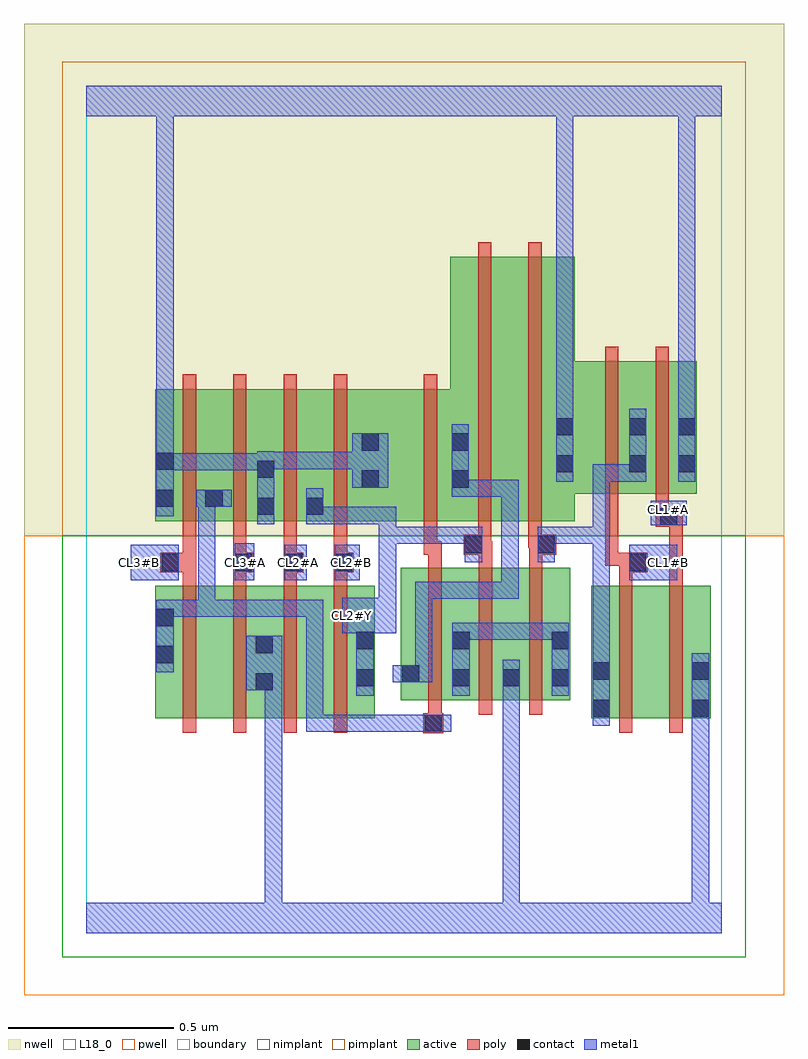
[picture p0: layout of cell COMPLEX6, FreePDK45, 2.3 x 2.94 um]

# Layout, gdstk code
import gdstk
lib = gdstk.Library(unit=1e-6, precision=1e-09)
def R(c, l, rs):  # rectangles x0, y0, x1, y1
    for r in rs: c.add(gdstk.rectangle(r[:2], r[2:], *l))
def A(c, l, x, y, w, h, nx, ny, dx, dy):  # array of equal rectangles
    R(c, l, [(x+i*dx, y+j*dy, x+i*dx+w, y+j*dy+h) for i in range(nx) for j in range(ny)])
active = (1, 0)
pwell = (2, 0)
nwell = (3, 0)
nimplant = (4, 0)
pimplant = (5, 0)
poly = (9, 0)
contact = (10, 0)
metal1 = (11, 0)
L18_0 = (18, 0)
boundary = (235, 0)

complex6 = lib.new_cell('COMPLEX6')
A(complex6, active, 0.95, 0.704, 0.06, 0.4, 3, 1, 0.152, 0)
R(complex6, active, [(0.208,0.65,0.388,1.05), (0.388,0.65,0.568,1.05), (0.508,0.65,0.692,1.05), (0.692,0.65,0.872,1.05), (1.526,0.65,1.586,1.05), (1.526,0.65,1.706,1.05), (1.706,0.65,1.886,1.05), (1.826,0.65,1.886,1.05), (0.95,0.704,1.162,1.104), (1.102,0.704,1.314,1.104), (1.254,0.704,1.462,1.104), (0.508,0.73,0.568,0.902), (0.812,0.742,0.872,1.05), (1.402,0.742,1.462,1.104), (0.208,0.756,0.268,1.05), (0.208,1.244,0.268,1.644), (0.208,1.244,0.416,1.644), (0.356,1.244,0.416,1.644), (0.356,1.244,0.572,1.644), (0.512,1.244,0.572,1.644), (0.512,1.244,0.72,1.644), (0.66,1.244,0.72,1.644), (0.66,1.244,0.888,1.644), (0.828,1.244,0.888,1.644), (0.828,1.244,1.16,1.644), (1.1,1.244,1.16,1.644), (1.1,1.244,1.28,2.044), (1.28,1.244,1.476,2.044), (1.416,1.328,1.476,1.644), (1.416,1.328,1.696,1.728), (1.636,1.328,1.844,1.728), (1.636,1.328,1.696,1.644), (1.784,1.328,1.844,1.644)])
R(complex6, pwell, [(-0.188,-0.188,2.108,1.2)])
R(complex6, nwell, [(-0.188,1.2,2.108,2.748)])
R(complex6, nimplant, [(-0.072,-0.072,1.992,1.2)])
R(complex6, pimplant, [(-0.072,1.2,1.992,2.632)])
A(complex6, poly, 0.292, 0.606, 0.04, 0.488, 4, 2, 0.152, 0.594)
A(complex6, poly, 1.034, 0.66, 0.04, 0.488, 3, 1, 0.152, 0)
A(complex6, poly, 0.292, 1.054, 0.04, 0.076, 4, 1, 0.152, 0)
A(complex6, poly, 0.444, 1.09, 0.06, 0.06, 3, 1, 0.152, 0)
A(complex6, poly, 1.034, 1.108, 0.04, 0.076, 3, 1, 0.152, 0)
A(complex6, poly, 0.292, 1.11, 0.04, 0.13, 4, 1, 0.152, 0)
R(complex6, poly, [(1.018,0.604,1.078,0.664), (1.61,0.606,1.65,1.094), (1.762,0.606,1.802,1.094), (1.034,0.624,1.074,0.7), (1.61,1.054,1.65,1.13), (1.762,1.054,1.802,1.268), (0.224,1.09,0.332,1.15), (0.292,1.09,0.332,1.13), (0.292,1.09,0.332,1.13), (0.748,1.09,0.788,1.13), (0.748,1.09,0.788,1.13), (1.61,1.09,1.696,1.15), (0.444,1.11,0.484,1.15), (0.444,1.11,0.484,1.15), (0.596,1.11,0.636,1.15), (0.596,1.11,0.636,1.15), (1.568,1.11,1.608,1.324), (1.568,1.11,1.65,1.15), (1.61,1.11,1.65,1.15), (1.02,1.144,1.06,1.184), (1.02,1.144,1.06,1.184), (1.02,1.144,1.06,1.24), (1.02,1.144,1.074,1.184), (1.14,1.144,1.224,1.204), (1.184,1.144,1.224,1.184), (1.184,1.144,1.226,1.184), (1.338,1.144,1.42,1.204), (1.184,1.164,1.224,1.24), (1.336,1.164,1.376,1.24), (1.336,1.164,1.378,1.204), (1.338,1.164,1.378,1.204), (1.02,1.2,1.06,1.688), (1.184,1.2,1.224,2.088), (1.336,1.2,1.376,2.088), (1.72,1.228,1.802,1.288), (1.762,1.228,1.802,1.268), (1.762,1.228,1.802,1.268), (1.72,1.248,1.76,1.324), (1.568,1.284,1.608,1.772), (1.72,1.284,1.76,1.772)])
A(complex6, contact, 0.448, 1.094, 0.052, 0.052, 3, 1, 0.152, 0)
R(complex6, contact, [(1.022,0.608,1.074,0.66), (1.53,0.654,1.582,0.706), (1.83,0.654,1.882,0.706), (0.512,0.734,0.564,0.786), (0.816,0.746,0.868,0.798), (1.106,0.746,1.158,0.798), (1.258,0.746,1.31,0.798), (1.406,0.746,1.458,0.798), (0.954,0.758,1.006,0.81), (1.53,0.766,1.582,0.818), (1.83,0.766,1.882,0.818), (0.212,0.816,0.264,0.868), (0.512,0.846,0.564,0.898), (0.816,0.858,0.868,0.91), (1.106,0.858,1.158,0.91), (1.406,0.858,1.458,0.91), (0.212,0.928,0.264,0.98), (0.228,1.094,0.28,1.146), (1.64,1.094,1.692,1.146), (1.144,1.148,1.196,1.2), (1.364,1.148,1.416,1.2), (1.734,1.232,1.786,1.284), (0.516,1.264,0.568,1.316), (0.664,1.264,0.716,1.316), (0.212,1.288,0.264,1.34), (0.36,1.288,0.412,1.34), (0.832,1.346,0.884,1.398), (1.104,1.346,1.156,1.398), (0.516,1.376,0.568,1.428), (1.42,1.392,1.472,1.444), (1.64,1.392,1.692,1.444), (1.788,1.392,1.84,1.444), (0.212,1.4,0.264,1.452), (0.832,1.458,0.884,1.51), (1.104,1.458,1.156,1.51), (1.42,1.504,1.472,1.556), (1.64,1.504,1.692,1.556), (1.788,1.504,1.84,1.556)])
R(complex6, metal1, [(0,0,1.92,0.092), (0.54,0.04,0.592,0.786), (1.258,0.04,1.31,0.092), (1.258,0.04,1.31,0.092), (1.258,0.04,1.31,0.092), (1.258,0.04,1.31,0.092), (1.258,0.04,1.31,0.092), (1.258,0.04,1.31,0.092), (1.258,0.04,1.31,0.092), (1.258,0.04,1.31,0.092), (1.258,0.04,1.31,0.092), (1.258,0.04,1.31,0.092), (1.258,0.04,1.31,0.092), (1.258,0.04,1.31,0.092), (1.258,0.04,1.31,0.77), (1.83,0.04,1.882,0.092), (1.83,0.04,1.882,0.092), (1.83,0.04,1.882,0.092), (1.83,0.04,1.882,0.092), (1.83,0.04,1.882,0.092), (1.83,0.04,1.882,0.092), (1.83,0.04,1.882,0.092), (1.83,0.04,1.882,0.092), (1.83,0.04,1.882,0.092), (1.83,0.04,1.882,0.092), (1.83,0.04,1.882,0.092), (1.83,0.04,1.882,0.092), (1.83,0.04,1.882,0.678), (0.664,0.608,0.716,0.66), (0.664,0.608,0.716,0.66), (0.664,0.608,0.716,0.66), (0.664,0.608,0.936,0.66), (0.664,0.608,0.716,0.896), (0.884,0.608,0.936,0.66), (0.884,0.608,0.936,0.66), (0.884,0.608,0.936,0.66), (0.884,0.608,0.936,0.66), (0.884,0.608,0.936,0.66), (0.884,0.608,1.046,0.66), (0.994,0.608,1.102,0.66), (1.53,0.626,1.582,0.846), (1.83,0.626,1.882,0.846), (0.816,0.718,0.868,0.938), (1.106,0.718,1.158,0.938), (1.258,0.718,1.31,0.826), (1.406,0.718,1.458,0.938), (0.484,0.734,0.592,0.898), (0.54,0.734,0.592,0.786), (0.54,0.734,0.592,0.786), (0.54,0.734,0.592,0.786), (0.54,0.734,0.592,0.786), (0.54,0.734,0.592,0.786), (0.54,0.734,0.592,0.786), (0.54,0.734,0.592,0.786), (0.54,0.734,0.592,0.786), (0.54,0.734,0.592,0.786), (0.54,0.734,0.592,0.786), (0.54,0.734,0.592,0.786), (0.54,0.734,0.592,0.786), (0.926,0.758,1.046,0.81), (0.994,0.758,1.046,1.062), (0.212,0.788,0.264,1.008), (1.53,0.794,1.582,1.228), (0.664,0.844,0.716,0.896), (0.664,0.844,0.716,1.008), (0.816,0.886,0.868,0.958), (1.106,0.886,1.158,0.938), (1.106,0.886,1.158,0.938), (1.106,0.886,1.306,0.938), (1.254,0.886,1.306,0.938), (1.254,0.886,1.306,0.938), (1.254,0.886,1.306,0.938), (1.254,0.886,1.458,0.938), (0.774,0.906,0.936,1.014), (0.212,0.956,0.264,1.008), (0.212,0.956,0.264,1.008), (0.212,0.956,0.39,1.008), (0.338,0.956,0.39,1.008), (0.338,0.956,0.39,1.008), (0.338,0.956,0.39,1.008), (0.338,0.956,0.39,1.008), (0.338,0.956,0.39,1.008), (0.338,0.956,0.39,1.008), (0.338,0.956,0.39,1.008), (0.338,0.956,0.5,1.008), (0.338,0.956,0.39,1.34), (0.448,0.956,0.5,1.008), (0.448,0.956,0.5,1.008), (0.448,0.956,0.5,1.008), (0.448,0.956,0.716,1.008), (0.664,0.956,0.716,1.008), (0.664,0.956,0.716,1.008), (0.664,0.956,0.716,1.008), (0.884,0.962,0.936,1.228), (0.994,1.01,1.046,1.062), (0.994,1.01,1.046,1.062), (0.994,1.01,1.046,1.062), (0.994,1.01,1.156,1.062), (1.104,1.01,1.156,1.062), (1.104,1.01,1.156,1.062), (1.104,1.01,1.156,1.062), (1.104,1.01,1.306,1.062), (1.254,1.01,1.306,1.062), (1.254,1.01,1.306,1.37), (0.134,1.066,0.28,1.174), (0.448,1.066,0.508,1.178), (0.6,1.066,0.666,1.174), (0.752,1.066,0.826,1.174), (1.64,1.066,1.786,1.174), (1.144,1.12,1.196,1.228), (1.364,1.12,1.416,1.228), (0.884,1.176,0.936,1.228), (0.884,1.176,0.936,1.228), (0.884,1.176,0.936,1.228), (0.884,1.176,1.046,1.228), (0.884,1.176,0.936,1.288), (0.994,1.176,1.046,1.228), (0.994,1.176,1.196,1.228), (1.144,1.176,1.196,1.228), (1.144,1.176,1.196,1.228), (1.364,1.176,1.416,1.228), (1.364,1.176,1.416,1.228), (1.364,1.176,1.582,1.228), (1.53,1.176,1.582,1.228), (1.53,1.176,1.582,1.336), (1.706,1.232,1.814,1.306), (0.516,1.236,0.568,1.456), (0.664,1.236,0.716,1.288), (0.664,1.236,0.716,1.288), (0.664,1.236,0.716,1.344), (0.664,1.236,0.936,1.288), (0.884,1.236,0.936,1.288), (0.212,1.26,0.264,1.48), (1.53,1.284,1.582,1.336), (1.53,1.284,1.582,1.336), (1.53,1.284,1.582,1.336), (1.53,1.284,1.582,1.336), (1.53,1.284,1.582,1.416), (0.332,1.288,0.44,1.34), (1.104,1.318,1.156,1.37), (1.104,1.318,1.156,1.37), (1.104,1.318,1.156,1.538), (1.104,1.318,1.306,1.37), (1.254,1.318,1.306,1.37), (1.254,1.318,1.306,1.37), (1.254,1.318,1.306,1.37), (0.804,1.346,0.912,1.51), (1.42,1.364,1.472,1.584), (1.53,1.364,1.692,1.416), (1.64,1.364,1.692,1.584), (1.788,1.364,1.84,1.584), (0.212,1.398,0.264,1.45), (0.212,1.398,0.264,1.45), (0.212,1.398,0.39,1.45), (0.338,1.398,0.39,1.45), (0.338,1.398,0.39,1.45), (0.338,1.398,0.39,1.45), (0.338,1.398,0.568,1.45), (0.516,1.402,0.568,1.454), (0.516,1.402,0.568,1.454), (0.516,1.402,0.702,1.454), (0.65,1.402,0.702,1.454), (0.65,1.402,0.702,1.454), (0.65,1.402,0.702,1.454), (0.65,1.402,0.856,1.454), (0.212,1.428,0.264,1.48), (0.212,1.428,0.264,1.48), (0.212,1.428,0.264,1.48), (0.212,1.428,0.264,1.48), (0.212,1.428,0.264,1.48), (0.212,1.428,0.264,1.48), (0.212,1.428,0.264,1.48), (0.212,1.428,0.264,1.48), (0.212,1.428,0.264,1.48), (0.212,1.428,0.264,1.48), (0.212,1.428,0.264,1.48), (0.212,1.428,0.264,1.48), (0.212,1.428,0.264,1.48), (0.212,1.428,0.264,1.48), (0.212,1.428,0.264,2.52), (1.42,1.532,1.472,1.584), (1.42,1.532,1.472,1.584), (1.42,1.532,1.472,1.584), (1.42,1.532,1.472,1.584), (1.42,1.532,1.472,2.52), (1.788,1.532,1.84,1.584), (1.788,1.532,1.84,1.584), (1.788,1.532,1.84,1.584), (1.788,1.532,1.84,1.584), (1.788,1.532,1.84,1.584), (1.788,1.532,1.84,1.584), (1.788,1.532,1.84,1.584), (1.788,1.532,1.84,1.584), (1.788,1.532,1.84,2.52), (0,2.468,1.92,2.56), (0.212,2.468,0.264,2.52), (0.212,2.468,0.264,2.52), (1.42,2.468,1.472,2.52), (1.42,2.468,1.472,2.52), (1.42,2.468,1.472,2.52), (1.42,2.468,1.472,2.52), (1.788,2.468,1.84,2.52), (1.788,2.468,1.84,2.52), (1.788,2.468,1.84,2.52), (1.788,2.468,1.84,2.52), (1.788,2.468,1.84,2.52), (1.788,2.468,1.84,2.52), (1.788,2.468,1.84,2.52), (1.788,2.468,1.84,2.52)])
A(complex6, L18_0, 0.454, 1.094, 0.052, 0.052, 3, 1, 0.16, 0)
R(complex6, L18_0, [(0,0,1.92,0.092), (0.54,0.04,0.592,0.786), (1.258,0.04,1.31,0.092), (1.258,0.04,1.31,0.092), (1.258,0.04,1.31,0.092), (1.258,0.04,1.31,0.092), (1.258,0.04,1.31,0.092), (1.258,0.04,1.31,0.092), (1.258,0.04,1.31,0.092), (1.258,0.04,1.31,0.092), (1.258,0.04,1.31,0.092), (1.258,0.04,1.31,0.092), (1.258,0.04,1.31,0.092), (1.258,0.04,1.31,0.092), (1.258,0.04,1.31,0.77), (1.83,0.04,1.882,0.092), (1.83,0.04,1.882,0.092), (1.83,0.04,1.882,0.092), (1.83,0.04,1.882,0.092), (1.83,0.04,1.882,0.092), (1.83,0.04,1.882,0.092), (1.83,0.04,1.882,0.092), (1.83,0.04,1.882,0.092), (1.83,0.04,1.882,0.092), (1.83,0.04,1.882,0.092), (1.83,0.04,1.882,0.092), (1.83,0.04,1.882,0.092), (1.83,0.04,1.882,0.678), (1.83,0.626,1.882,0.846), (0.816,0.718,0.868,0.938), (1.258,0.718,1.31,0.826), (0.484,0.734,0.592,0.898), (0.54,0.734,0.592,0.786), (0.54,0.734,0.592,0.786), (0.54,0.734,0.592,0.786), (0.54,0.734,0.592,0.786), (0.54,0.734,0.592,0.786), (0.54,0.734,0.592,0.786), (0.54,0.734,0.592,0.786), (0.54,0.734,0.592,0.786), (0.54,0.734,0.592,0.786), (0.54,0.734,0.592,0.786), (0.54,0.734,0.592,0.786), (0.54,0.734,0.592,0.786), (0.816,0.886,0.868,0.958), (0.774,0.906,0.936,1.014), (0.774,0.934,0.826,0.986), (0.884,0.962,0.936,1.228), (0.134,1.066,0.28,1.174), (0.448,1.066,0.508,1.178), (0.6,1.066,0.666,1.174), (0.752,1.066,0.826,1.174), (1.64,1.066,1.786,1.174), (0.134,1.094,0.186,1.146), (1.734,1.094,1.786,1.146), (1.144,1.12,1.196,1.228), (0.884,1.176,0.936,1.228), (0.884,1.176,0.936,1.228), (0.884,1.176,0.936,1.228), (0.884,1.176,0.936,1.288), (0.884,1.176,1.046,1.228), (0.994,1.176,1.046,1.228), (0.994,1.176,1.196,1.228), (1.144,1.176,1.196,1.228), (1.144,1.176,1.196,1.228), (1.706,1.232,1.814,1.306), (0.516,1.236,0.568,1.456), (0.664,1.236,0.716,1.288), (0.664,1.236,0.716,1.288), (0.664,1.236,0.716,1.344), (0.664,1.236,0.936,1.288), (0.884,1.236,0.936,1.288), (1.734,1.254,1.786,1.306), (0.212,1.26,0.264,1.48), (0.804,1.346,0.912,1.51), (1.42,1.364,1.472,1.584), (1.788,1.364,1.84,1.584), (0.212,1.398,0.264,1.45), (0.212,1.398,0.264,1.45), (0.212,1.398,0.39,1.45), (0.338,1.398,0.39,1.45), (0.338,1.398,0.39,1.45), (0.338,1.398,0.39,1.45), (0.338,1.398,0.568,1.45), (0.516,1.402,0.568,1.454), (0.516,1.402,0.568,1.454), (0.516,1.402,0.702,1.454), (0.65,1.402,0.702,1.454), (0.65,1.402,0.702,1.454), (0.65,1.402,0.702,1.454), (0.65,1.402,0.856,1.454), (0.212,1.428,0.264,1.48), (0.212,1.428,0.264,1.48), (0.212,1.428,0.264,1.48), (0.212,1.428,0.264,1.48), (0.212,1.428,0.264,1.48), (0.212,1.428,0.264,1.48), (0.212,1.428,0.264,1.48), (0.212,1.428,0.264,1.48), (0.212,1.428,0.264,1.48), (0.212,1.428,0.264,1.48), (0.212,1.428,0.264,1.48), (0.212,1.428,0.264,1.48), (0.212,1.428,0.264,1.48), (0.212,1.428,0.264,1.48), (0.212,1.428,0.264,2.52), (1.42,1.532,1.472,1.584), (1.42,1.532,1.472,1.584), (1.42,1.532,1.472,1.584), (1.42,1.532,1.472,1.584), (1.42,1.532,1.472,2.52), (1.788,1.532,1.84,1.584), (1.788,1.532,1.84,1.584), (1.788,1.532,1.84,1.584), (1.788,1.532,1.84,1.584), (1.788,1.532,1.84,1.584), (1.788,1.532,1.84,1.584), (1.788,1.532,1.84,1.584), (1.788,1.532,1.84,1.584), (1.788,1.532,1.84,2.52), (0,2.468,1.92,2.56), (0.212,2.468,0.264,2.52), (0.212,2.468,0.264,2.52), (1.42,2.468,1.472,2.52), (1.42,2.468,1.472,2.52), (1.42,2.468,1.472,2.52), (1.42,2.468,1.472,2.52), (1.788,2.468,1.84,2.52), (1.788,2.468,1.84,2.52), (1.788,2.468,1.84,2.52), (1.788,2.468,1.84,2.52), (1.788,2.468,1.84,2.52), (1.788,2.468,1.84,2.52), (1.788,2.468,1.84,2.52), (1.788,2.468,1.84,2.52)])
R(complex6, boundary, [(0,0,1.92,2.56)])
complex6.add(gdstk.Label('CL1#A', (1.76,1.28), layer=11, texttype=0))
complex6.add(gdstk.Label('CL1#B', (1.76,1.12), layer=11, texttype=0))
complex6.add(gdstk.Label('CL2#A', (0.64,1.12), layer=11, texttype=0))
complex6.add(gdstk.Label('CL2#B', (0.8,1.12), layer=11, texttype=0))
complex6.add(gdstk.Label('CL2#Y', (0.8,0.96), layer=11, texttype=0))
complex6.add(gdstk.Label('CL3#A', (0.48,1.12), layer=11, texttype=0))
complex6.add(gdstk.Label('CL3#B', (0.16,1.12), layer=11, texttype=0))

lib.write_gds('COMPLEX6.gds')
